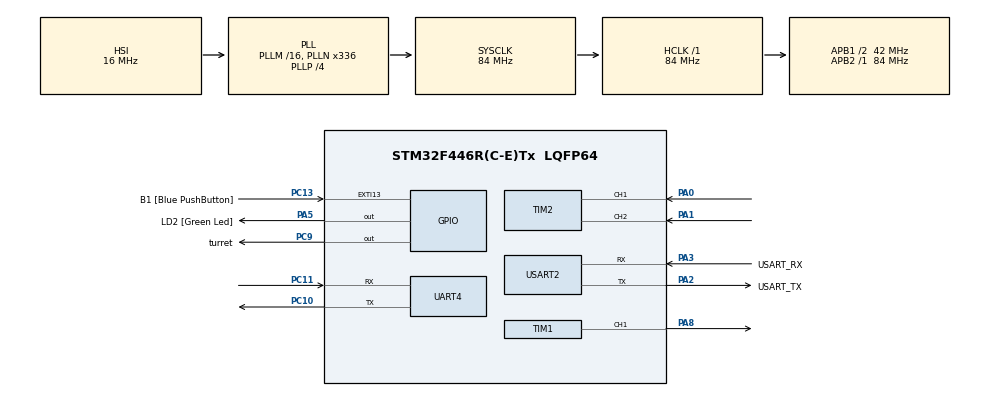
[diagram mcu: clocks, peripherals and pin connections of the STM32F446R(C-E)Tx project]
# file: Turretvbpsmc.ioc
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Dma.Request0=UART4_RX
Dma.UART4_RX.0.Direction=DMA_PERIPH_TO_MEMORY
Dma.UART4_RX.0.FIFOMode=DMA_FIFOMODE_DISABLE
Dma.UART4_RX.0.Instance=DMA1_Stream2
Dma.UART4_RX.0.MemDataAlignment=DMA_MDATAALIGN_BYTE
Dma.UART4_RX.0.MemInc=DMA_MINC_ENABLE
Dma.UART4_RX.0.Mode=DMA_CIRCULAR
Dma.UART4_RX.0.PeriphDataAlignment=DMA_PDATAALIGN_BYTE
Dma.UART4_RX.0.PeriphInc=DMA_PINC_DISABLE
Dma.UART4_RX.0.Priority=DMA_PRIORITY_LOW
Mcu.Family=STM32F4
Mcu.Name=STM32F446R(C-E)Tx
Mcu.Package=LQFP64
NVIC.DMA1_Stream2_IRQn=true\:0\:0\:false\:false\:true\:false\:true\:true
NVIC.PriorityGroup=NVIC_PRIORITYGROUP_0
NVIC.TIM2_IRQn=true\:0\:0\:false\:false\:true\:true\:true\:true
NVIC.UART4_IRQn=true\:0\:0\:false\:false\:true\:true\:true\:true
PA0-WKUP.GPIO_PuPd=GPIO_PULLUP
PA0-WKUP.Signal=S_TIM2_CH1_ETR
PA1.GPIO_PuPd=GPIO_PULLUP
PA1.Signal=S_TIM2_CH2
PA13.GPIO_Label=TMS
PA13.Mode=Serial_Wire
PA13.Signal=SYS_JTMS-SWDIO
PA14.GPIO_Label=TCK
PA14.Mode=Serial_Wire
PA14.Signal=SYS_JTCK-SWCLK
PA2.GPIO_Label=USART_TX
PA2.Mode=Asynchronous
PA2.Signal=USART2_TX
PA3.GPIO_Label=USART_RX
PA3.Mode=Asynchronous
PA3.Signal=USART2_RX
PA5.GPIO_Label=LD2 [Green Led]
PA5.Signal=GPIO_Output
PA8.Signal=S_TIM1_CH1
PB3.GPIO_Label=SWO
PB3.Signal=SYS_JTDO-SWO
PC10.Mode=Asynchronous
PC10.Signal=UART4_TX
PC11.Mode=Asynchronous
PC11.Signal=UART4_RX
PC13.GPIO_Label=B1 [Blue PushButton]
PC13.GPIO_ModeDefaultEXTI=GPIO_MODE_IT_FALLING
PC13.Signal=GPXTI13
PC14-OSC32_IN.Mode=LSE-External-Oscillator
PC14-OSC32_IN.Signal=RCC_OSC32_IN
PC15-OSC32_OUT.Mode=LSE-External-Oscillator
PC15-OSC32_OUT.Signal=RCC_OSC32_OUT
PC9.GPIO_Label=turret
PC9.Signal=GPIO_Output
PH0-OSC_IN.Mode=HSE-External-Oscillator
PH0-OSC_IN.Signal=RCC_OSC_IN
PH1-OSC_OUT.Mode=HSE-External-Oscillator
PH1-OSC_OUT.Signal=RCC_OSC_OUT
ProjectManager.HeapSize=0x200
ProjectManager.StackSize=0x400
ProjectManager.TargetToolchain=STM32CubeIDE
RCC.48MHZClocksFreq_Value=84000000
RCC.AHBFreq_Value=84000000
RCC.APB1CLKDivider=RCC_HCLK_DIV2
RCC.APB1Freq_Value=42000000
RCC.APB1TimFreq_Value=84000000
RCC.APB2Freq_Value=84000000
RCC.APB2TimFreq_Value=84000000
RCC.CortexFreq_Value=84000000
RCC.FLatency-AdvancedSettings=FLASH_LATENCY_2
RCC.HCLKFreq_Value=84000000
RCC.HSE_VALUE=8000000
RCC.HSI_VALUE=16000000
RCC.PLLN=336
RCC.PLLP=RCC_PLLP_DIV4
RCC.SYSCLKFreq_VALUE=84000000
RCC.SYSCLKSource=RCC_SYSCLKSOURCE_PLLCLK
RCC.USBFreq_Value=168000000
RCC.VCOOutputFreq_Value=336000000
SH.S_TIM1_CH1.0=TIM1_CH1,PWM Generation1 CH1
SH.S_TIM2_CH1_ETR.0=TIM2_CH1,Encoder_Interface
SH.S_TIM2_CH2.0=TIM2_CH2,Encoder_Interface
TIM1.Channel-PWM\ Generation1\ CH1=TIM_CHANNEL_1
TIM1.Period=999
TIM1.Prescaler=179
TIM2.EncoderMode=TIM_ENCODERMODE_TI12
TIM2.IC1Filter=5
TIM2.IC2Filter=5
UART4.VirtualMode=Asynchronous
USART2.VirtualMode=VM_ASYNC
VP_TIM1_VS_ClockSourceINT.Mode=Internal
board=NUCLEO-F446RE

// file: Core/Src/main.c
/* USER CODE BEGIN Header */
/**
  ******************************************************************************
  * @file           : main.c
  * @brief          : Main program body
  ******************************************************************************
  * @attention
  *
  * Copyright (c) 2025 STMicroelectronics.
  * All rights reserved.
  *
  * This software is licensed under terms that can be found in the LICENSE file
  * in the root directory of this software component.
  * If no LICENSE file comes with this software, it is provided AS-IS.
  *
  ******************************************************************************
  */
/* USER CODE END Header */
#include "main.h"

/* USER CODE BEGIN Includes */
#include "stdio.h"
#include<stdio.h>
#include<inttypes.h>
#include<Math.h>
#include <stdbool.h>
#include <stdlib.h>
/* USER CODE END Includes */

/* USER CODE BEGIN PTD */
int16_t signed_counter = 0;
int setpoint = 0;
int error,lasterr;
int32_t lx, ly, rx, ry, cro, squ, tri, cir, up, down, left, right, ll1, rr1,
		ll2, rr2, rL, rR;
int deadzone = 50;
//float cos30 = (sqrt(3)/2);
double kp,kd,ki;
float last_encoder = 0.0f;
float output;
const int encoderPPR = 600*6;
double errsum;
float dt = 0.001;  // Timestep
float L = 0.5;  // Integral gain
float K = 5;   // Proportional gain
float B = 0;     // Derivative gain
float H = 0.2;     // Time constant for overdamped motion
float V = 100;     // Velocity limit (m/s or rad/s)
float F = 800;      // Force/Torque limit

// State variables for proxy dynamics
float proxy_pos = 0;
float proxy_vel = 0;
float a_prev = 0;
float a_prev_prev = 0;
float current_angle;
#define ENCODER_RESOLUTION 600.0f  // Encoder ticks per revolution
#define DEGREES_PER_REVOLUTION 360.0f

// Control Parameters - TUNE THESE
#define PROPORTIONAL_GAIN 8000.0f  // K
#define INTEGRAL_GAIN 10000.0f     // L
#define DERIVATIVE_GAIN 60.0f      // B
#define TIME_CONSTANT 0.2f           // H
#define VELOCITY_LIMIT 100.0f          // V
#define FORCE_LIMIT 800.0f            // F
#define CONTROL_INTERVAL 0.011f      // dt

typedef struct {
    float proxy_pos;
    float proxy_vel;
    float a_prev;
    float a_prev_prev;
} ProxyState;

ProxyState proxy = {0};
int constrain(int value, int min_val, int max_val) {
    if (value < min_val)
        return min_val;
    if (value > max_val)
        return max_val;
    return value;
}
/* USER CODE END PTD */

TIM_HandleTypeDef htim1;
TIM_HandleTypeDef htim2;

UART_HandleTypeDef huart4;
UART_HandleTypeDef huart2;
DMA_HandleTypeDef hdma_uart4_rx;

/* USER CODE BEGIN PV */
unsigned long now,lastTime;
/* USER CODE END PV */

void SystemClock_Config(void);
static void MX_GPIO_Init(void);
static void MX_DMA_Init(void);
static void MX_USART2_UART_Init(void);
static void MX_TIM1_Init(void);
static void MX_TIM2_Init(void);
static void MX_UART4_Init(void);

/* USER CODE BEGIN 0 */
uint8_t rxbuff[16];
void HAL_UART_RxCpltCallback(UART_HandleTypeDef *huart) {
	HAL_UART_Receive_DMA(&huart4, rxbuff, 16);
}
int compute_motor_position(float target_angle, int16_t current_position) {
    // 1. Convert current encoder position to angle
    float current_angle = (current_position / ENCODER_RESOLUTION) * DEGREES_PER_REVOLUTION;

    // 2. Calculate proxy target (u* from paper)
    float u_star = (target_angle - current_angle +
                    TIME_CONSTANT * (0 - proxy.proxy_vel)) /
                   (TIME_CONSTANT + CONTROL_INTERVAL);

    // 3. Apply velocity limit (V)
    float u = (fabs(u_star) > VELOCITY_LIMIT) ?
              (VELOCITY_LIMIT * (u_star > 0 ? 1 : -1)) : u_star;

    // 4. Compute force (f_star) with proxy dynamics
    float term1 = INTEGRAL_GAIN * proxy.a_prev +
                  (INTEGRAL_GAIN * CONTROL_INTERVAL + PROPORTIONAL_GAIN) *
                  (proxy.a_prev - proxy.a_prev_prev) / CONTROL_INTERVAL;

    float term2 = (INTEGRAL_GAIN * CONTROL_INTERVAL * CONTROL_INTERVAL +
                   PROPORTIONAL_GAIN * CONTROL_INTERVAL + DERIVATIVE_GAIN) *
                  (u - proxy.proxy_vel);

    float f_star = term1 + term2;

    // 5. Apply force limit (F)
    float f = (fabs(f_star) > FORCE_LIMIT) ?
              (FORCE_LIMIT * (f_star > 0 ? 1 : -1)) : f_star;

    // 6. Update proxy state
    float a = ((PROPORTIONAL_GAIN * CONTROL_INTERVAL + DERIVATIVE_GAIN) * proxy.a_prev +
               DERIVATIVE_GAIN * (proxy.a_prev - proxy.a_prev_prev) +
               CONTROL_INTERVAL * CONTROL_INTERVAL * f) /
              (INTEGRAL_GAIN * CONTROL_INTERVAL * CONTROL_INTERVAL +
               PROPORTIONAL_GAIN * CONTROL_INTERVAL + DERIVATIVE_GAIN);

    // 7. Update proxy velocity and position
    proxy.proxy_vel = (a - proxy.a_prev) / CONTROL_INTERVAL;
    proxy.proxy_pos += proxy.proxy_vel * CONTROL_INTERVAL;

    // 8. Prepare for next iteration
    proxy.a_prev_prev = proxy.a_prev;
    proxy.a_prev = a;

    // 9. Output motor command (clamped)
    return (int)fmin(fmax(f, -900), 900);
}
void control_turret() {
    uint16_t raw_counter = __HAL_TIM_GET_COUNTER(&htim2);
    int16_t signed_counter = (raw_counter < 32768) ?
                              (int16_t)raw_counter :
                              (int16_t)(raw_counter - 65536);

    float target_angle = 0;  // Dynamic setpoint

    // Dynamic target selection example
    if (cro == 1) target_angle = 400;
    if (squ == 1) target_angle = 0;
    if (tri == 1) target_angle = -900;
    if (cir == 1) target_angle = 700;

    // Only control if significant error exists
    if (fabs(signed_counter - target_angle) > 3) {
        int output = compute_motor_position(target_angle, signed_counter);

        // Motor direction control
        HAL_GPIO_WritePin(GPIOC, GPIO_PIN_9,
                          signed_counter < target_angle ? GPIO_PIN_SET : GPIO_PIN_RESET);

        // Apply PWM
        TIM1->CCR1 = abs(output);
        HAL_TIM_PWM_Start(&htim1, TIM_CHANNEL_1);
    }
}

/* USER CODE END 0 */

int main(void)
{

  /* MCU Configuration--------------------------------------------------------*/

  /* Reset of all peripherals, Initializes the Flash interface and the Systick. */
  HAL_Init();

  /* Configure the system clock */
  SystemClock_Config();

  /* Initialize all configured peripherals */
  MX_GPIO_Init();
  MX_DMA_Init();
  MX_USART2_UART_Init();
  MX_TIM1_Init();
  MX_TIM2_Init();
  MX_UART4_Init();
  /* USER CODE BEGIN 2 */
  HAL_UART_Receive_DMA(&huart4, rxbuff, 16);
  HAL_TIM_Encoder_Start(&htim2, TIM_CHANNEL_ALL);
  /* USER CODE END 2 */

  /* Infinite loop */
  while (1)
  {

    /* USER CODE BEGIN 3 */
	  /* ps5 controller */
	  		lx = (rxbuff[0] & 0x80) ?
	  				(int32_t) rxbuff[0] - 256 : (int32_t) rxbuff[0];
	  		ly = (rxbuff[1] & 0x80) ?
	  				(int32_t) rxbuff[1] - 256 : (int32_t) rxbuff[1];
	  		rx = (rxbuff[2] & 0x80) ?
	  				(int32_t) rxbuff[2] - 256 : (int32_t) rxbuff[2];
	  		ry = (rxbuff[3] & 0x80) ?
	  				(int32_t) rxbuff[3] - 256 : (int32_t) rxbuff[3];
	  		cro = (rxbuff[4] & 0x80) ?
	  				(int32_t) rxbuff[4] - 256 : (int32_t) rxbuff[4];
	  		squ = (rxbuff[5] & 0x80) ?
	  				(int32_t) rxbuff[5] - 256 : (int32_t) rxbuff[5];
	  		tri = (rxbuff[6] & 0x80) ?
	  				(int32_t) rxbuff[6] - 256 : (int32_t) rxbuff[6];
	  		cir = (rxbuff[7] & 0x80) ?
	  				(int32_t) rxbuff[7] - 256 : (int32_t) rxbuff[7];
	  		up = (rxbuff[8] & 0x80) ?
	  				(int32_t) rxbuff[8] - 256 : (int32_t) rxbuff[8];
	  		down = (rxbuff[9] & 0x80) ?
	  				(int32_t) rxbuff[9] - 256 : (int32_t) rxbuff[9];
	  		left = (rxbuff[10] & 0x80) ?
	  				(int32_t) rxbuff[10] - 256 : (int32_t) rxbuff[10];
	  		right = (rxbuff[11] & 0x80) ?
	  				(int32_t) rxbuff[11] - 256 : (int32_t) rxbuff[11];
	  		ll1 = (rxbuff[12] & 0x80) ?
	  				(int32_t) rxbuff[12] - 256 : (int32_t) rxbuff[12];
	  		ll2 = (rxbuff[13] & 0x80) ?
	  				(int32_t) rxbuff[13] - 256 : (int32_t) rxbuff[13];
	  		rr1 = (rxbuff[14] & 0x80) ?
	  				(int32_t) rxbuff[14] - 256 : (int32_t) rxbuff[14];
	  		rr2 = (rxbuff[15] & 0x80) ?
	  				(int32_t) rxbuff[15] - 256 : (int32_t) rxbuff[15];

	  				printf("Received Integers: %ld %ld %ld %ld %ld %ld %ld %ld %ld %ld %ld\r\n",
	  						lx, ly, rx, ry, cro, squ, tri, cir, ll1, rr1,signed_counter);
//	  		printf("Received Integers: %ld %ld %ld %ld %ld %ld %ld %ld\r\n", lx, ly,
//	  				rx, ry, cro, squ, tri, cir);
	  control_turret();

  }
  /* USER CODE END 3 */
}

void SystemClock_Config(void)
{
  RCC_OscInitTypeDef RCC_OscInitStruct = {0};
  RCC_ClkInitTypeDef RCC_ClkInitStruct = {0};

  /** Configure the main internal regulator output voltage
  */
  __HAL_RCC_PWR_CLK_ENABLE();
  __HAL_PWR_VOLTAGESCALING_CONFIG(PWR_REGULATOR_VOLTAGE_SCALE3);

  /** Initializes the RCC Oscillators according to the specified parameters
  * in the RCC_OscInitTypeDef structure.
  */
  RCC_OscInitStruct.OscillatorType = RCC_OSCILLATORTYPE_HSI;
  RCC_OscInitStruct.HSIState = RCC_HSI_ON;
  RCC_OscInitStruct.HSICalibrationValue = RCC_HSICALIBRATION_DEFAULT;
  RCC_OscInitStruct.PLL.PLLState = RCC_PLL_ON;
  RCC_OscInitStruct.PLL.PLLSource = RCC_PLLSOURCE_HSI;
  RCC_OscInitStruct.PLL.PLLM = 16;
  RCC_OscInitStruct.PLL.PLLN = 336;
  RCC_OscInitStruct.PLL.PLLP = RCC_PLLP_DIV4;
  RCC_OscInitStruct.PLL.PLLQ = 2;
  RCC_OscInitStruct.PLL.PLLR = 2;
  if (HAL_RCC_OscConfig(&RCC_OscInitStruct) != HAL_OK)
  {
    Error_Handler();
  }

  /** Initializes the CPU, AHB and APB buses clocks
  */
  RCC_ClkInitStruct.ClockType = RCC_CLOCKTYPE_HCLK|RCC_CLOCKTYPE_SYSCLK
                              |RCC_CLOCKTYPE_PCLK1|RCC_CLOCKTYPE_PCLK2;
  RCC_ClkInitStruct.SYSCLKSource = RCC_SYSCLKSOURCE_PLLCLK;
  RCC_ClkInitStruct.AHBCLKDivider = RCC_SYSCLK_DIV1;
  RCC_ClkInitStruct.APB1CLKDivider = RCC_HCLK_DIV2;
  RCC_ClkInitStruct.APB2CLKDivider = RCC_HCLK_DIV1;

  if (HAL_RCC_ClockConfig(&RCC_ClkInitStruct, FLASH_LATENCY_2) != HAL_OK)
  {
    Error_Handler();
  }
}

static void MX_TIM1_Init(void)
{

  TIM_ClockConfigTypeDef sClockSourceConfig = {0};
  TIM_MasterConfigTypeDef sMasterConfig = {0};
  TIM_OC_InitTypeDef sConfigOC = {0};
  TIM_BreakDeadTimeConfigTypeDef sBreakDeadTimeConfig = {0};

  htim1.Instance = TIM1;
  htim1.Init.Prescaler = 179;
  htim1.Init.CounterMode = TIM_COUNTERMODE_UP;
  htim1.Init.Period = 999;
  htim1.Init.ClockDivision = TIM_CLOCKDIVISION_DIV1;
  htim1.Init.RepetitionCounter = 0;
  htim1.Init.AutoReloadPreload = TIM_AUTORELOAD_PRELOAD_DISABLE;
  if (HAL_TIM_Base_Init(&htim1) != HAL_OK)
  {
    Error_Handler();
  }
  sClockSourceConfig.ClockSource = TIM_CLOCKSOURCE_INTERNAL;
  if (HAL_TIM_ConfigClockSource(&htim1, &sClockSourceConfig) != HAL_OK)
  {
    Error_Handler();
  }
  if (HAL_TIM_PWM_Init(&htim1) != HAL_OK)
  {
    Error_Handler();
  }
  sMasterConfig.MasterOutputTrigger = TIM_TRGO_RESET;
  sMasterConfig.MasterSlaveMode = TIM_MASTERSLAVEMODE_DISABLE;
  if (HAL_TIMEx_MasterConfigSynchronization(&htim1, &sMasterConfig) != HAL_OK)
  {
    Error_Handler();
  }
  sConfigOC.OCMode = TIM_OCMODE_PWM1;
  sConfigOC.Pulse = 0;
  sConfigOC.OCPolarity = TIM_OCPOLARITY_HIGH;
  sConfigOC.OCNPolarity = TIM_OCNPOLARITY_HIGH;
  sConfigOC.OCFastMode = TIM_OCFAST_DISABLE;
  sConfigOC.OCIdleState = TIM_OCIDLESTATE_RESET;
  sConfigOC.OCNIdleState = TIM_OCNIDLESTATE_RESET;
  if (HAL_TIM_PWM_ConfigChannel(&htim1, &sConfigOC, TIM_CHANNEL_1) != HAL_OK)
  {
    Error_Handler();
  }
  sBreakDeadTimeConfig.OffStateRunMode = TIM_OSSR_DISABLE;
  sBreakDeadTimeConfig.OffStateIDLEMode = TIM_OSSI_DISABLE;
  sBreakDeadTimeConfig.LockLevel = TIM_LOCKLEVEL_OFF;
  sBreakDeadTimeConfig.DeadTime = 0;
  sBreakDeadTimeConfig.BreakState = TIM_BREAK_DISABLE;
  sBreakDeadTimeConfig.BreakPolarity = TIM_BREAKPOLARITY_HIGH;
  sBreakDeadTimeConfig.AutomaticOutput = TIM_AUTOMATICOUTPUT_DISABLE;
  if (HAL_TIMEx_ConfigBreakDeadTime(&htim1, &sBreakDeadTimeConfig) != HAL_OK)
  {
    Error_Handler();
  }
  HAL_TIM_MspPostInit(&htim1);

}

static void MX_TIM2_Init(void)
{

  TIM_Encoder_InitTypeDef sConfig = {0};
  TIM_MasterConfigTypeDef sMasterConfig = {0};

  htim2.Instance = TIM2;
  htim2.Init.Prescaler = 0;
  htim2.Init.CounterMode = TIM_COUNTERMODE_UP;
  htim2.Init.Period = 4294967295;
  htim2.Init.ClockDivision = TIM_CLOCKDIVISION_DIV1;
  htim2.Init.AutoReloadPreload = TIM_AUTORELOAD_PRELOAD_DISABLE;
  sConfig.EncoderMode = TIM_ENCODERMODE_TI12;
  sConfig.IC1Polarity = TIM_ICPOLARITY_RISING;
  sConfig.IC1Selection = TIM_ICSELECTION_DIRECTTI;
  sConfig.IC1Prescaler = TIM_ICPSC_DIV1;
  sConfig.IC1Filter = 5;
  sConfig.IC2Polarity = TIM_ICPOLARITY_RISING;
  sConfig.IC2Selection = TIM_ICSELECTION_DIRECTTI;
  sConfig.IC2Prescaler = TIM_ICPSC_DIV1;
  sConfig.IC2Filter = 5;
  if (HAL_TIM_Encoder_Init(&htim2, &sConfig) != HAL_OK)
  {
    Error_Handler();
  }
  sMasterConfig.MasterOutputTrigger = TIM_TRGO_RESET;
  sMasterConfig.MasterSlaveMode = TIM_MASTERSLAVEMODE_DISABLE;
  if (HAL_TIMEx_MasterConfigSynchronization(&htim2, &sMasterConfig) != HAL_OK)
  {
    Error_Handler();
  }

}

static void MX_UART4_Init(void)
{

  huart4.Instance = UART4;
  huart4.Init.BaudRate = 115200;
  huart4.Init.WordLength = UART_WORDLENGTH_8B;
  huart4.Init.StopBits = UART_STOPBITS_1;
  huart4.Init.Parity = UART_PARITY_NONE;
  huart4.Init.Mode = UART_MODE_TX_RX;
  huart4.Init.HwFlowCtl = UART_HWCONTROL_NONE;
  huart4.Init.OverSampling = UART_OVERSAMPLING_16;
  if (HAL_UART_Init(&huart4) != HAL_OK)
  {
    Error_Handler();
  }

}

static void MX_USART2_UART_Init(void)
{

  huart2.Instance = USART2;
  huart2.Init.BaudRate = 115200;
  huart2.Init.WordLength = UART_WORDLENGTH_8B;
  huart2.Init.StopBits = UART_STOPBITS_1;
  huart2.Init.Parity = UART_PARITY_NONE;
  huart2.Init.Mode = UART_MODE_TX_RX;
  huart2.Init.HwFlowCtl = UART_HWCONTROL_NONE;
  huart2.Init.OverSampling = UART_OVERSAMPLING_16;
  if (HAL_UART_Init(&huart2) != HAL_OK)
  {
    Error_Handler();
  }

}

static void MX_DMA_Init(void)
{

  /* DMA controller clock enable */
  __HAL_RCC_DMA1_CLK_ENABLE();

  /* DMA interrupt init */
  /* DMA1_Stream2_IRQn interrupt configuration */
  HAL_NVIC_SetPriority(DMA1_Stream2_IRQn, 0, 0);
  HAL_NVIC_EnableIRQ(DMA1_Stream2_IRQn);

}

static void MX_GPIO_Init(void)
{
  GPIO_InitTypeDef GPIO_InitStruct = {0};

  /* GPIO Ports Clock Enable */
  __HAL_RCC_GPIOC_CLK_ENABLE();
  __HAL_RCC_GPIOH_CLK_ENABLE();
  __HAL_RCC_GPIOA_CLK_ENABLE();
  __HAL_RCC_GPIOB_CLK_ENABLE();

  /*Configure GPIO pin Output Level */
  HAL_GPIO_WritePin(LD2_GPIO_Port, LD2_Pin, GPIO_PIN_RESET);

  /*Configure GPIO pin Output Level */
  HAL_GPIO_WritePin(turret_GPIO_Port, turret_Pin, GPIO_PIN_RESET);

  /*Configure GPIO pin : B1_Pin */
  GPIO_InitStruct.Pin = B1_Pin;
  GPIO_InitStruct.Mode = GPIO_MODE_IT_FALLING;
  GPIO_InitStruct.Pull = GPIO_NOPULL;
  HAL_GPIO_Init(B1_GPIO_Port, &GPIO_InitStruct);

  /*Configure GPIO pin : LD2_Pin */
  GPIO_InitStruct.Pin = LD2_Pin;
  GPIO_InitStruct.Mode = GPIO_MODE_OUTPUT_PP;
  GPIO_InitStruct.Pull = GPIO_NOPULL;
  GPIO_InitStruct.Speed = GPIO_SPEED_FREQ_LOW;
  HAL_GPIO_Init(LD2_GPIO_Port, &GPIO_InitStruct);

  /*Configure GPIO pin : turret_Pin */
  GPIO_InitStruct.Pin = turret_Pin;
  GPIO_InitStruct.Mode = GPIO_MODE_OUTPUT_PP;
  GPIO_InitStruct.Pull = GPIO_NOPULL;
  GPIO_InitStruct.Speed = GPIO_SPEED_FREQ_LOW;
  HAL_GPIO_Init(turret_GPIO_Port, &GPIO_InitStruct);

}

/* USER CODE BEGIN 4 */
int _write(int file, char *ptr, int len) {
	HAL_UART_Transmit(&huart2, (uint8_t*) ptr, len, HAL_MAX_DELAY);
	return len;
}
/* USER CODE END 4 */

void Error_Handler(void)
{
  __disable_irq();
  while (1)
  {
  }
}
